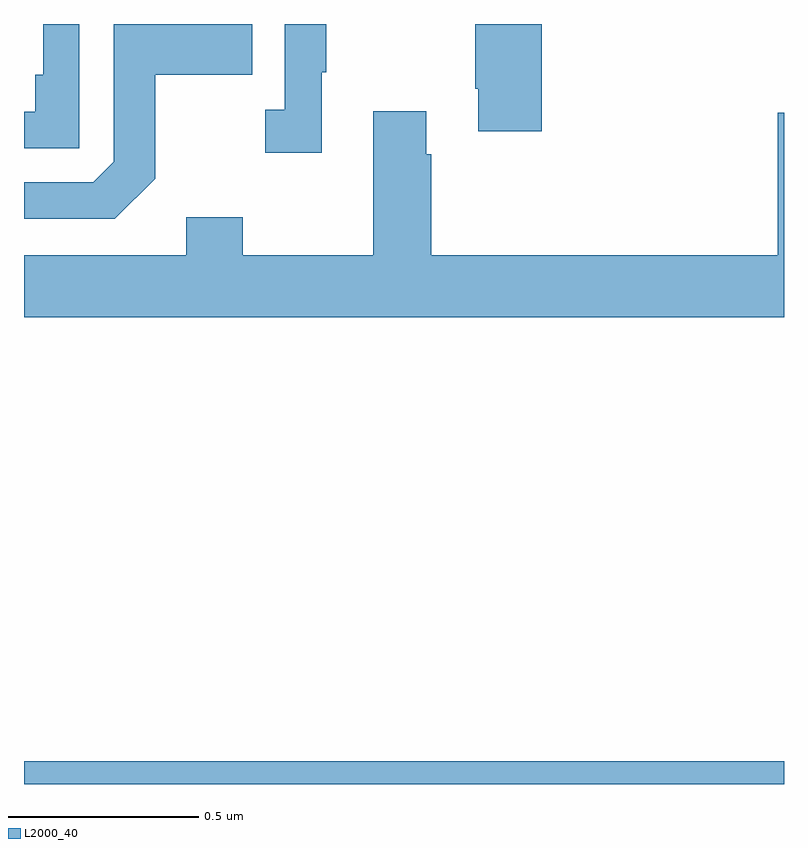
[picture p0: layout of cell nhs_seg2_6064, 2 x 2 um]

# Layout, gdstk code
import gdstk
lib = gdstk.Library(unit=1e-6, precision=1e-09)
def R(c, l, rs):  # rectangles x0, y0, x1, y1
    for r in rs: c.add(gdstk.rectangle(r[:2], r[2:], *l))
def P(c, l, *ps):  # polygons
    for p in ps: c.add(gdstk.Polygon(p, *l))
L2000_40 = (2000, 40)

nhs_seg2_6064 = lib.new_cell('nhs_seg2_6064')
R(nhs_seg2_6064, L2000_40, [(187,587.8,189,587.86)])
P(nhs_seg2_6064, L2000_40, [(188.363,589.8),(188.188,589.8),(188.188,589.63),(188.195,589.63),(188.195,589.518),(188.363,589.518)],
  [(187.783,589.673),(187.795,589.673),(187.795,589.8),(187.686,589.8),(187.686,589.574),(187.635,589.574),(187.635,589.461),(187.783,589.461)],
  [(187.146,589.8),(187.05,589.8),(187.05,589.666),(187.03,589.666),(187.03,589.569),(187,589.569),(187,589.473),(187.146,589.473)],
  [(187.345,589.393),(187.345,589.666),(187.601,589.666),(187.601,589.8),(187.236,589.8),(187.236,589.437),(187.182,589.383),(187,589.383),(187,589.287),(187.239,589.287)],
  [(188.059,589.457),(188.059,589.57),(187.919,589.57),(187.919,589.192),(187.575,589.192),(187.575,589.291),(187.427,589.291),(187.427,589.192),(187,589.192),(187,589.028),(189,589.028),(189,589.567),(188.984,589.567),(188.984,589.192),(188.072,589.192),(188.072,589.457)])

lib.write_gds('nhs_seg2_6064.gds')
